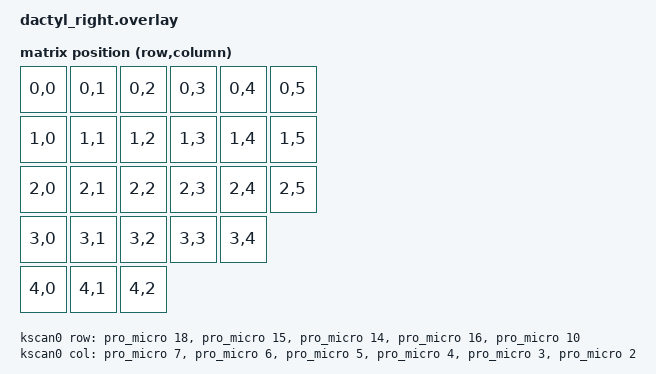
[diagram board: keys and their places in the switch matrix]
#include <dt-bindings/zmk/matrix_transform.h>

/ {
    physical_layout: physical_layout_0 {
        compatible = "zmk,physical-layout";
        display-name = "Dactyl Right";
        kscan = <&kscan0>;
        transform = <&default_transform>;
    };

    chosen {
        zmk,kscan = &kscan0;
        zmk,physical-layout = <&physical_layout>;
    };

    default_transform: keymap_transform_0 {
        compatible = "zmk,matrix-transform";
        columns = <6>;
        rows = <5>;

        map = <
        // COL      1       2       3       4      5      6
        /* R1 */ RC(0,0) RC(0,1) RC(0,2) RC(0,3) RC(0,4) RC(0,5)
        /* R2 */ RC(1,0) RC(1,1) RC(1,2) RC(1,3) RC(1,4) RC(1,5)
        /* R3 */ RC(2,0) RC(2,1) RC(2,2) RC(2,3) RC(2,4) RC(2,5)
        /* R4 */ RC(3,0) RC(3,1) RC(3,2) RC(3,3) RC(3,4) 
        /* R5 */ RC(4,0) RC(4,1) RC(4,2) 
        >;
    };

    kscan0: kscan_0 {
        compatible = "zmk,kscan-gpio-matrix";
        diode-direction = "row2col";
        wakeup-source;

        col-gpios
            = <&pro_micro 7 (GPIO_ACTIVE_HIGH | GPIO_PULL_DOWN)> // C1 ->  D7
            , <&pro_micro 6 (GPIO_ACTIVE_HIGH | GPIO_PULL_DOWN)> // C2 -> D6
            , <&pro_micro 5 (GPIO_ACTIVE_HIGH | GPIO_PULL_DOWN)> // C3 -> D5
            , <&pro_micro 4 (GPIO_ACTIVE_HIGH | GPIO_PULL_DOWN)> // C4 -> D4
            , <&pro_micro 3 (GPIO_ACTIVE_HIGH | GPIO_PULL_DOWN)> // C5 -> D3
            , <&pro_micro 2 (GPIO_ACTIVE_HIGH | GPIO_PULL_DOWN)> // C6 -> D2
            ;

        row-gpios
            = <&pro_micro 18 GPIO_ACTIVE_HIGH> // R1 -> D18
            , <&pro_micro 15 GPIO_ACTIVE_HIGH> // R2 -> D15
            , <&pro_micro 14 GPIO_ACTIVE_HIGH> // R3 -> D14
            , <&pro_micro 16 GPIO_ACTIVE_HIGH> // R4 -> D16
            , <&pro_micro 10 GPIO_ACTIVE_HIGH> // R5 -> D10
            ;
    };
};
